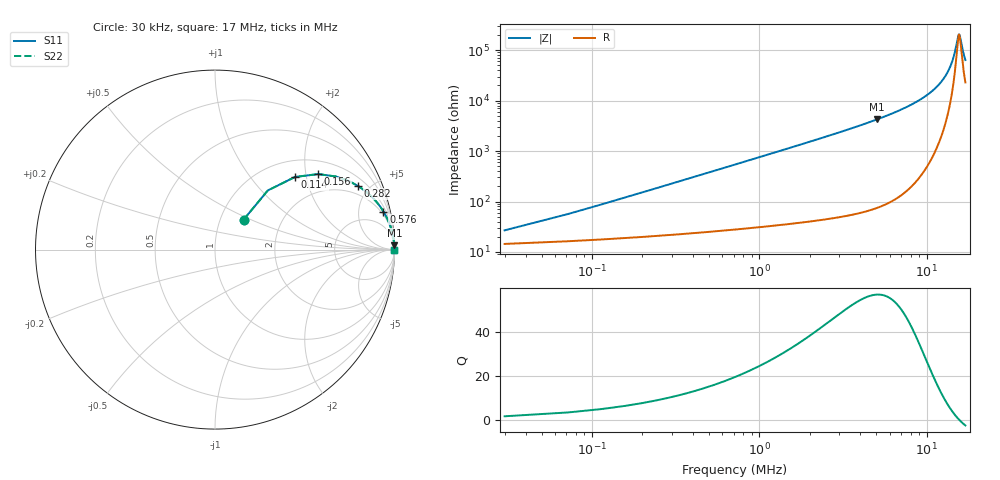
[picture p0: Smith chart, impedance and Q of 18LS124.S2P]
! Coilcraft 1812LS-124 Chip Inductor
! 8 August 2002
# MHZ S MA R 50
!Freq  MagS11  AngS11  MagS21  AngS21  MagS12  AngS12  MagS22  AngS22
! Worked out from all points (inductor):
!   406 points, 30 kHz to 17 MHz, reference 50 ohm
!   read as one part in series: L = 120 uH near 114 kHz
!   highest Q = 56.9 at 5.028 MHz (marker M1), where L = 134 uH
!   self-resonance near 15.57 MHz
!   S11 on the Smith chart (normalised r, x): 30 kHz: 1.29, +0.45; 114 kHz: 1.35, +1.72; 156 kHz: 1.38, +2.35; 282 kHz: 1.43, +4.25; 576 kHz: 1.52, +8.70; 17 MHz: open
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0.03  0.23 46.3  0.8573 -11.2  0.8573 -11.2  0.23 46.3
0.114  0.6022 42.2  0.6862 -36.1  0.6862 -36.1  0.6022 42.2
0.156  0.7125 36.2  0.5981 -44.7  0.5981 -44.7  0.7125 36.2
0.282  0.8727 24.0  0.4082 -60.3  0.4082 -60.3  0.8727 24.0
0.408  0.9307 17.5  0.3014 -68.1  0.3014 -68.1  0.9307 17.5
0.576  0.9622 12.7  0.2209 -73.8  0.2209 -73.8  0.9622 12.7
0.954  0.9849 7.8  0.1363 -79.8  0.1363 -79.8  0.9849 7.8
1.458  0.9931 5.1  0.08951 -83.0  0.08951 -83.0  0.9931 5.1
2.088  0.9965 3.6  0.06214 -85.0  0.06214 -85.0  0.9965 3.6
2.886  0.9981 2.5  0.04428 -86.2  0.04428 -86.2  0.9981 2.5
5.028  0.9993 1.4  0.02361 -87.6  0.02361 -87.6  0.9993 1.4
5.7  0.9994 1.2  0.02014 -87.8  0.02014 -87.8  0.9994 1.2
8.556  0.9997 0.6  0.01083 -87.9  0.01083 -87.9  0.9997 0.6
11.37  0.9997 0.3  0.005465 -86.3  0.005465 -86.3  0.9997 0.3
13.008  0.9996 0.2  0.003119 -82.9  0.003119 -82.9  0.9996 0.2
14.184  0.9996 0.1  0.001667 -75.2  0.001667 -75.2  0.9996 0.1
14.688  0.9996 0.1  0.001111 -66.3  0.001111 -66.3  0.9996 0.1
15.36  0.9995 0.0  0.0005424 -28.5  0.0005424 -28.5  0.9995 0.0
15.57  0.9995 0.0  0.0004879 -3.4  0.0004879 -3.4  0.9995 0.0
15.78  0.9995 -0.0  0.0005357 21.7  0.0005357 21.7  0.9995 -0.0
16.452  0.9995 -0.1  0.001051 59.5  0.001051 59.5  0.9995 -0.1
17  0.9994 -0.1  0.001567 68.9  0.001567 68.9  0.9994 -0.1
